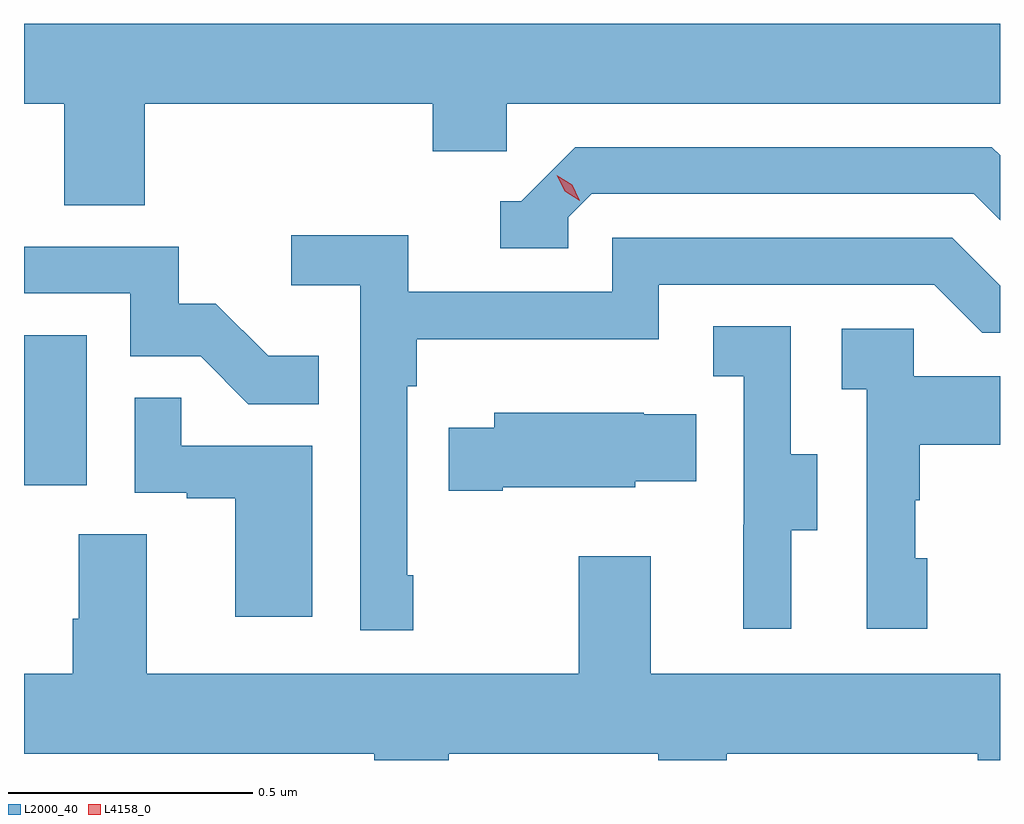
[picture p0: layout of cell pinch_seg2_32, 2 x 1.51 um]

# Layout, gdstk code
import gdstk
lib = gdstk.Library(unit=1e-6, precision=1e-09)
def R(c, l, rs):  # rectangles x0, y0, x1, y1
    for r in rs: c.add(gdstk.rectangle(r[:2], r[2:], *l))
def P(c, l, *ps):  # polygons
    for p in ps: c.add(gdstk.Polygon(p, *l))
L2000_40 = (2000, 40)
L4158_0 = (4158, 0)

pinch_seg2_32 = lib.new_cell('pinch_seg2_32')
R(pinch_seg2_32, L2000_40, [(1127.503,652.182,1127.632,652.489)])
P(pinch_seg2_32, L2000_40, [(1127.75,652.964),(1128.341,652.964),(1128.341,652.866),(1128.492,652.866),(1128.492,652.964),(1129.503,652.964),(1129.503,653.128),(1127.503,653.128),(1127.503,652.964),(1127.585,652.964),(1127.585,652.756),(1127.75,652.756)],
  [(1128.618,652.731),(1128.666,652.779),(1129.449,652.779),(1129.503,652.725),(1129.503,652.858),(1129.486,652.875),(1128.633,652.875),(1128.522,652.764),(1128.479,652.764),(1128.479,652.668),(1128.618,652.668)],
  [(1128.301,651.997),(1128.288,651.997),(1128.288,652.385),(1128.308,652.385),(1128.308,652.481),(1128.804,652.481),(1128.804,652.593),(1129.368,652.593),(1129.467,652.494),(1129.503,652.494),(1129.503,652.591),(1129.405,652.689),(1128.708,652.689),(1128.708,652.578),(1128.29,652.578),(1128.29,652.694),(1128.051,652.694),(1128.051,652.592),(1128.192,652.592),(1128.192,651.885),(1128.301,651.885)],
  [(1128.107,652.447),(1128.003,652.447),(1127.896,652.554),(1127.82,652.554),(1127.82,652.671),(1127.503,652.671),(1127.503,652.575),(1127.721,652.575),(1127.721,652.446),(1127.865,652.446),(1127.963,652.348),(1128.107,652.348)],
  [(1129.075,652.09),(1129.129,652.09),(1129.129,652.245),(1129.074,652.245),(1129.074,652.508),(1128.915,652.508),(1128.915,652.405),(1128.978,652.405),(1128.978,652.101),(1128.977,652.101),(1128.977,651.888),(1129.075,651.888)],
  [(1129.354,652.032),(1129.329,652.032),(1129.329,652.151),(1129.339,652.151),(1129.339,652.265),(1129.503,652.265),(1129.503,652.405),(1129.326,652.405),(1129.326,652.503),(1129.179,652.503),(1129.179,652.379),(1129.23,652.379),(1129.23,651.888),(1129.354,651.888)],
  [(1128.094,652.263),(1127.825,652.263),(1127.825,652.361),(1127.73,652.361),(1127.73,652.167),(1127.837,652.167),(1127.837,652.155),(1127.936,652.155),(1127.936,651.912),(1128.094,651.912)],
  [(1128.484,652.178),(1128.756,652.178),(1128.756,652.19),(1128.881,652.19),(1128.881,652.327),(1128.773,652.327),(1128.773,652.33),(1128.467,652.33),(1128.467,652.3),(1128.373,652.3),(1128.373,652.171),(1128.484,652.171)],
  [(1128.373,651.632),(1128.803,651.632),(1128.803,651.618),(1128.943,651.618),(1128.943,651.632),(1129.457,651.632),(1129.457,651.618),(1129.503,651.618),(1129.503,651.796),(1128.787,651.796),(1128.787,652.036),(1128.64,652.036),(1128.64,651.796),(1127.755,651.796),(1127.755,652.082),(1127.615,652.082),(1127.615,651.908),(1127.603,651.908),(1127.603,651.796),(1127.503,651.796),(1127.503,651.632),(1128.221,651.632),(1128.221,651.618),(1128.373,651.618)])
P(pinch_seg2_32, L4158_0, [(1128.642,652.765),(1128.611,652.784),(1128.595,652.817),(1128.595,652.817),(1128.595,652.817),(1128.626,652.798),(1128.642,652.765),(1128.642,652.765)])

lib.write_gds('pinch_seg2_32.gds')
